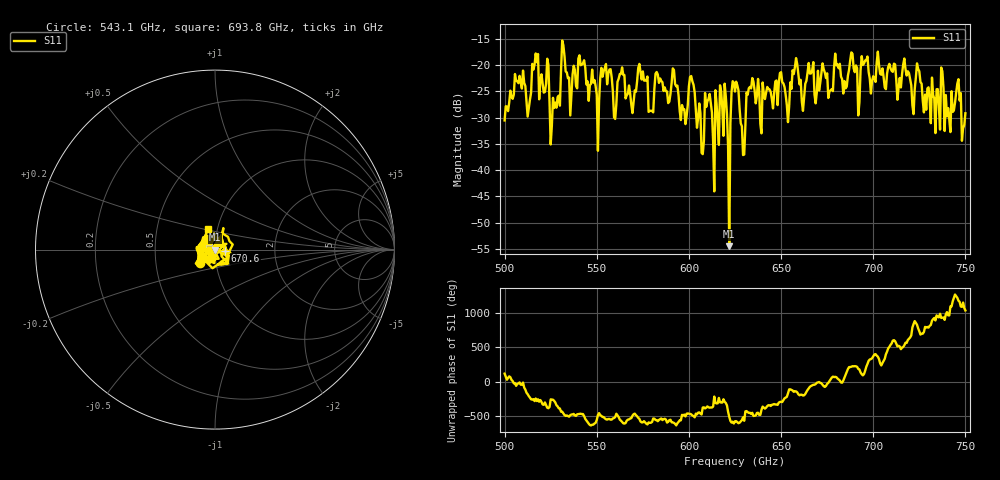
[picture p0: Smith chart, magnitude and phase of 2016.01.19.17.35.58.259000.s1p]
!Created with skrf (http://scikit-rf.org).
# GHz S RI R 50.0
!freq ReS11 ImS11
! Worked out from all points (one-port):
!   401 points, 500 GHz to 750 GHz, reference 50 ohm
!   lowest |S11| = -54.5 dB at 621.9 GHz (marker M1), VSWR 1.00, Z = 49.8 - j0.0885 ohm
!   |S11| at or under -10 dB: start of sweep to end of sweep
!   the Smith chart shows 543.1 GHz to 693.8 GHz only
!   S11 on the Smith chart (normalised r, x): 543.1 GHz: 0.84, -0.12; 670.6 GHz: 1.12, -0.01; 693.8 GHz: 0.91, +0.21
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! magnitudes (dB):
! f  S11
! 500 GHz  -30.5
! 506.9 GHz  -23.1
! 513.1 GHz  -28.2
! 516.9 GHz  -17.8
! 526.2 GHz  -26.2
! 531.2 GHz  -15.3
! 543.1 GHz  -19.1
! 550 GHz  -25.6
! 562.5 GHz  -21.7
! 569.4 GHz  -29.1
! 573.8 GHz  -21.4
! 579.4 GHz  -28.7
! 583.1 GHz  -21.8
! 593.8 GHz  -23.9
! 598.1 GHz  -31.2
! 601.9 GHz  -23.1
! 606.9 GHz  -36.7
! 618.1 GHz  -28.3
! 621.9 GHz  -54.5
! 625 GHz  -25.0
! 629.4 GHz  -37.1
! 633.8 GHz  -24.4
! 656.2 GHz  -21.0
! 670.6 GHz  -24.8
! 687.5 GHz  -19.1
! 693.8 GHz  -18.3
! 718.8 GHz  -21.2
! 750 GHz  -29.2
